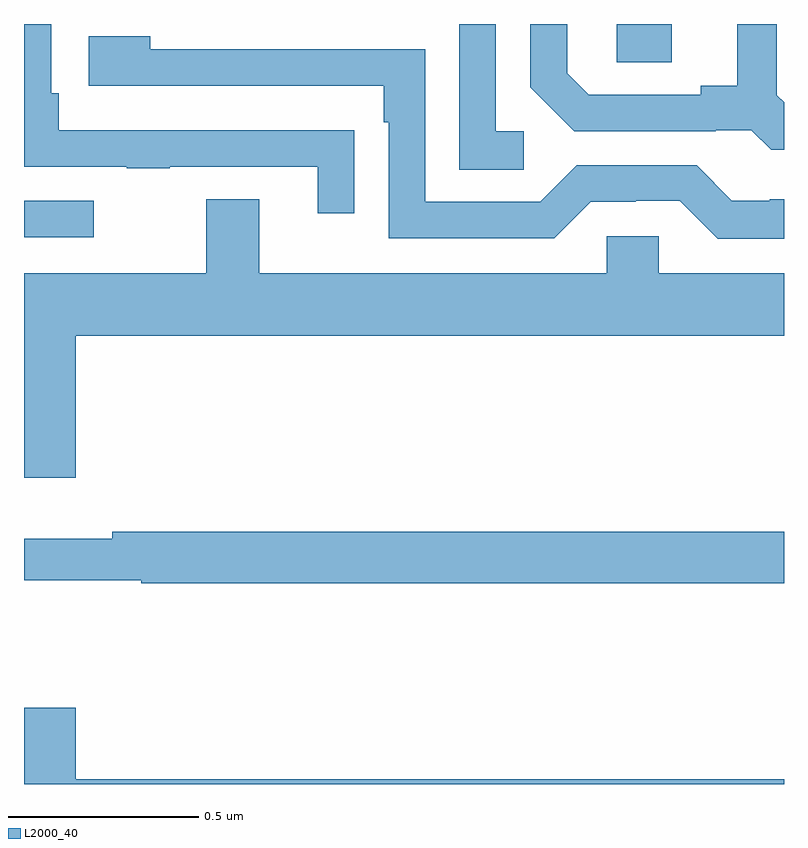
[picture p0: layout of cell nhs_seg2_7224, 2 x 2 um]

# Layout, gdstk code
import gdstk
lib = gdstk.Library(unit=1e-6, precision=1e-09)
def R(c, l, rs):  # rectangles x0, y0, x1, y1
    for r in rs: c.add(gdstk.rectangle(r[:2], r[2:], *l))
def P(c, l, *ps):  # polygons
    for p in ps: c.add(gdstk.Polygon(p, *l))
L2000_40 = (2000, 40)

nhs_seg2_7224 = lib.new_cell('nhs_seg2_7224')
R(nhs_seg2_7224, L2000_40, [(201,637.239,201.184,637.335), (202.56,637.699,202.705,637.8)])
P(nhs_seg2_7224, L2000_40, [(203,637.594),(202.981,637.613),(202.981,637.8),(202.877,637.8),(202.877,637.637),(202.781,637.637),(202.781,637.614),(202.486,637.614),(202.429,637.671),(202.429,637.8),(202.332,637.8),(202.332,637.634),(202.448,637.518),(202.82,637.518),(202.82,637.521),(202.914,637.521),(202.966,637.469),(203,637.469)],
  [(202.315,637.518),(202.242,637.518),(202.242,637.8),(202.146,637.8),(202.146,637.417),(202.315,637.417)],
  [(201.869,637.52),(201.767,637.52),(201.767,637.521),(201.092,637.521),(201.092,637.618),(201.072,637.618),(201.072,637.8),(201,637.8),(201,637.425),(201.271,637.425),(201.271,637.42),(201.383,637.42),(201.383,637.425),(201.773,637.425),(201.773,637.302),(201.869,637.302)],
  [(203,637.339),(202.963,637.339),(202.963,637.335),(202.863,637.335),(202.77,637.428),(202.455,637.428),(202.359,637.332),(202.056,637.332),(202.056,637.734),(201.332,637.734),(201.332,637.768),(201.171,637.768),(201.171,637.638),(201.947,637.638),(201.947,637.541),(201.96,637.541),(201.96,637.236),(202.395,637.236),(202.491,637.332),(202.61,637.332),(202.61,637.335),(202.725,637.335),(202.825,637.235),(203,637.235)],
  [(201.136,636.98),(203,636.98),(203,637.144),(202.671,637.144),(202.671,637.242),(202.533,637.242),(202.533,637.144),(201.619,637.144),(201.619,637.339),(201.479,637.339),(201.479,637.144),(201,637.144),(201,636.606),(201.136,636.606)],
  [(203,636.464),(201.232,636.464),(201.232,636.445),(201,636.445),(201,636.336),(201.308,636.336),(201.308,636.328),(203,636.328)],
  [(203,635.812),(201.136,635.812),(201.136,636.001),(201,636.001),(201,635.8),(203,635.8)])

lib.write_gds('nhs_seg2_7224.gds')
